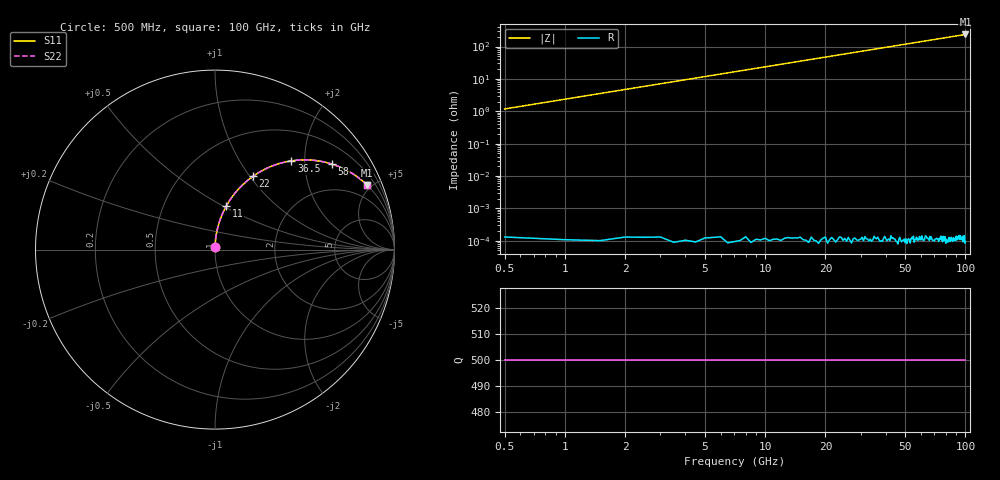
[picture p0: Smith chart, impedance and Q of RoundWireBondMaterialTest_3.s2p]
! File created by SignalIntegrity v1.4.3: Signal and Power Integrity Tools
! https://github.com/Nubis-Communications/SignalIntegrity
! the calculations of this model are from:
! https://www.allaboutcircuits.com/tools/wire-self-inductance-calculator/
# MHz S MA R 50.0
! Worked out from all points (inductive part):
!   200 points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, 500 MHz to 100 GHz, reference 50 ohm
!   read as one part in series: L = 375 pH near 1 GHz
!   highest |Z| = 236 ohm at 100 GHz (marker M1)
!   S11 on the Smith chart (normalised r, x): 500 MHz: 1.00, +0.02; 11 GHz: 1.00, +0.52; 22 GHz: 1.00, +1.04; 36.5 GHz: 1.00, +1.72; 58 GHz: 1.00, +2.74; 100 GHz: 1.00, +4.72
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500  0.01179 89.3  0.9999 -0.7  0.9999 -0.7  0.01179 89.3
1000  0.02358 88.6  0.9997 -1.4  0.9997 -1.4  0.02358 88.6
1500  0.03535 88.0  0.9994 -2.0  0.9994 -2.0  0.03535 88.0
2000  0.04711 87.3  0.9989 -2.7  0.9989 -2.7  0.04711 87.3
2500  0.05886 86.6  0.9983 -3.4  0.9983 -3.4  0.05886 86.6
3500  0.08226 85.3  0.9966 -4.7  0.9966 -4.7  0.08226 85.3
5000  0.1171 83.3  0.9931 -6.7  0.9931 -6.7  0.1171 83.3
6500  0.1515 81.3  0.9885 -8.7  0.9885 -8.7  0.1515 81.3
8500  0.1966 78.7  0.9805 -11.3  0.9805 -11.3  0.1966 78.7
11000  0.2511 75.5  0.968 -14.5  0.968 -14.5  0.2511 75.5
14000  0.3135 71.7  0.9496 -18.3  0.9496 -18.3  0.3135 71.7
17500  0.3815 67.6  0.9244 -22.4  0.9244 -22.4  0.3815 67.6
22000  0.4605 62.6  0.8876 -27.4  0.8876 -27.4  0.4605 62.6
27500  0.5441 57.0  0.839 -33.0  0.839 -33.0  0.5441 57.0
34000  0.6256 51.3  0.7802 -38.7  0.7802 -38.7  0.6256 51.3
36500  0.6524 49.3  0.7579 -40.7  0.7579 -40.7  0.6524 49.3
43500  0.7161 44.3  0.698 -45.7  0.698 -45.7  0.7161 44.3
50500  0.7658 40.0  0.643 -50.0  0.643 -50.0  0.7658 40.0
58000  0.8073 36.2  0.5902 -53.8  0.5902 -53.8  0.8073 36.2
67000  0.845 32.3  0.5348 -57.7  0.5348 -57.7  0.845 32.3
83500  0.8916 26.9  0.4528 -63.1  0.4528 -63.1  0.8916 26.9
100000  0.9207 23.0  0.3904 -67.0  0.3904 -67.0  0.9207 23.0
